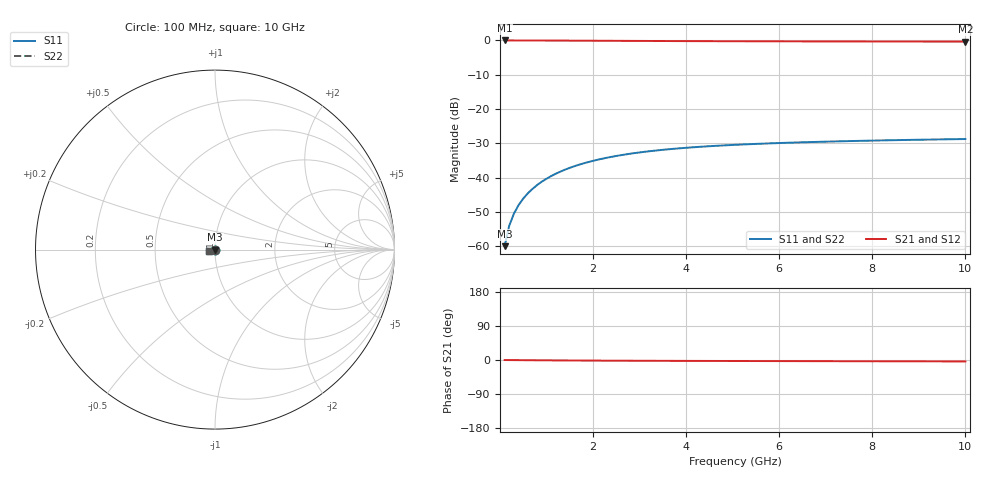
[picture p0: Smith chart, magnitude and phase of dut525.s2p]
! Touchstone file exported from HFSS 2024.1.0
!  File:  C:/UserFiles/LocalFiles/RDL_TSV_Batchsim/temp_TSV1_525_1779703941.aedt
!  Generated:  06:19:08 PM May 25, 2026
!  Design:  TSV1
!  Project:  temp_TSV1_525_1779703941
!  Setup:  Setup1
!  Solution:  Sweep
! Variables:
!  dtsv = 11.68um
!  hbump = 3um
!  htsv = 56.09um
!  lrdl = 252.1521522um
!  p = 40
!  p1 = 48.03um
!  t = 500um
!  trdl = 3um
!  wrdl = 24.89489489um
# GHz S MA R 50.000000
! Terminal data exported
! Port[1] = TSV22_T1
! Port[2] = TSV22_T2
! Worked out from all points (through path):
!   100 points, 100 MHz to 10 GHz, reference 50 ohm
!   highest |S21| = 0.00 dB at 100 MHz (marker M1); lowest = -0.3 dB at 10 GHz (marker M2)
!   lowest |S11| = -60.0 dB at 100 MHz (marker M3), VSWR 1.00, Z = 50 - j0.1 ohm
!   |S11| at or under -10 dB: start of sweep to end of sweep
!   |S22| runs from -60.0 to -28.7 dB; largest |S21 - S12| = 7.2e-15
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0.1  0.001003 -86.7  0.9999 -0.1  0.9999 -0.1  0.001003 -86.7
! Gamma 0 0 0 0
! Port Impedance 50 0 50 0
0.2  0.001998 -90.9  0.9998 -0.2  0.9998 -0.2  0.001998 -90.9
0.3  0.002989 -93.4  0.9996 -0.3  0.9996 -0.3  0.002989 -93.5
0.4  0.003975 -95.6  0.9994 -0.4  0.9994 -0.4  0.003975 -95.6
0.5  0.004953 -97.5  0.9991 -0.5  0.9991 -0.5  0.004953 -97.5
0.6  0.00592 -99.3  0.9988 -0.6  0.9988 -0.6  0.00592 -99.3
0.7  0.006875 -101.1  0.9984 -0.6  0.9984 -0.6  0.006875 -101.1
0.8  0.007816 -102.8  0.998 -0.7  0.998 -0.7  0.007816 -102.8
0.9  0.008741 -104.5  0.9975 -0.8  0.9975 -0.8  0.008741 -104.5
1.1  0.01054 -107.7  0.9964 -1.0  0.9964 -1.0  0.01054 -107.7
1.4  0.01309 -112.4  0.9946 -1.2  0.9946 -1.2  0.01309 -112.4
1.6  0.01468 -115.3  0.9933 -1.3  0.9933 -1.3  0.01468 -115.3
1.8  0.01618 -118.2  0.992 -1.5  0.992 -1.5  0.01618 -118.2
2.1  0.01826 -122.2  0.9899 -1.6  0.9899 -1.6  0.01826 -122.2
2.5  0.02071 -127.1  0.9872 -1.8  0.9872 -1.8  0.02071 -127.1
2.9  0.02283 -131.6  0.9846 -2.0  0.9846 -2.0  0.02283 -131.6
3.4  0.02507 -136.5  0.9816 -2.2  0.9816 -2.2  0.02507 -136.5
4.2  0.02787 -143.3  0.9774 -2.4  0.9774 -2.4  0.02787 -143.3
5.1  0.0302 -149.6  0.9736 -2.7  0.9736 -2.7  0.0302 -149.6
6.7  0.03305 -158.4  0.9686 -3.0  0.9686 -3.0  0.03305 -158.4
8.4  0.03511 -165.7  0.9652 -3.4  0.9652 -3.4  0.03511 -165.7
10  0.03656 -171.6  0.9629 -3.8  0.9629 -3.8  0.03656 -171.6
